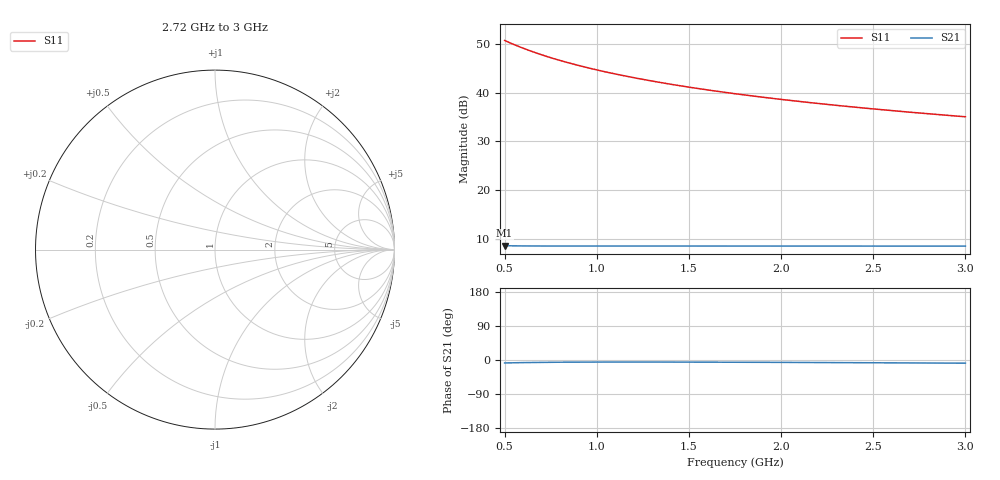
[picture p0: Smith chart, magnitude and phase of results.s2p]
! rfsim (KiCad + openEMS)
# HZ S RI R 50
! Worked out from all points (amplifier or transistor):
!   251 points, 500 MHz to 3 GHz, reference 50 ohm
!   highest |S21| = 8.5 dB at 500 MHz (marker M1)
!   |S21| within 3 dB of that: start of sweep to end of sweep
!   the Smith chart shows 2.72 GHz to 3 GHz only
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5e8  -52.38 339.6  2.641 -0.359  0 0  0 0
5.2e8  -48.67 326.7  2.638 -0.3487  0 0  0 0
5.4e8  -45.39 314.8  2.636 -0.3396  0 0  0 0
5.8e8  -39.78 293.5  2.634 -0.3241  0 0  0 0
6.3e8  -34.16 270.4  2.631 -0.308  0 0  0 0
6.8e8  -29.84 250.5  2.63 -0.2939  0 0  0 0
7.3e8  -26.57 233.3  2.631 -0.2815  0 0  0 0
7.9e8  -23.56 215.6  2.633 -0.2703  0 0  0 0
8.5e8  -21.09 200.5  2.635 -0.263  0 0  0 0
9.2e8  -18.73 185.2  2.636 -0.257  0 0  0 0
1.01e9  -16.52 168.6  2.635 -0.2507  0 0  0 0
1.11e9  -14.71 153.4  2.635 -0.247  0 0  0 0
1.22e9  -13.18 139.5  2.635 -0.2465  0 0  0 0
1.34e9  -11.9 126.9  2.634 -0.2494  0 0  0 0
1.43e9  -11.15 118.9  2.633 -0.2524  0 0  0 0
1.53e9  -10.5 111  2.632 -0.2566  0 0  0 0
1.75e9  -9.449 96.94  2.63 -0.2696  0 0  0 0
1.95e9  -8.794 86.9  2.628 -0.284  0 0  0 0
2.17e9  -8.239 77.99  2.624 -0.3031  0 0  0 0
2.38e9  -7.846 71  2.619 -0.3227  0 0  0 0
2.59e9  -7.521 65.15  2.615 -0.3433  0 0  0 0
3e9  -7.043 56.03  2.613 -0.3853  0 0  0 0
